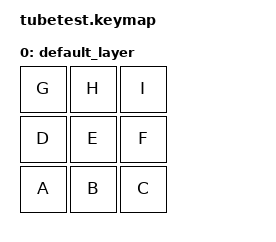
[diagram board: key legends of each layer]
#include <behaviors.dtsi>
#include <dt-bindings/zmk/keys.h>


/ {
    keymap {
        compatible = "zmk,keymap";

        default_layer {
            bindings = <
                &kp G   &kp H   &kp I
                &kp D   &kp E   &kp F
                &kp A   &kp B   &kp C
            >;
        };
    };
};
